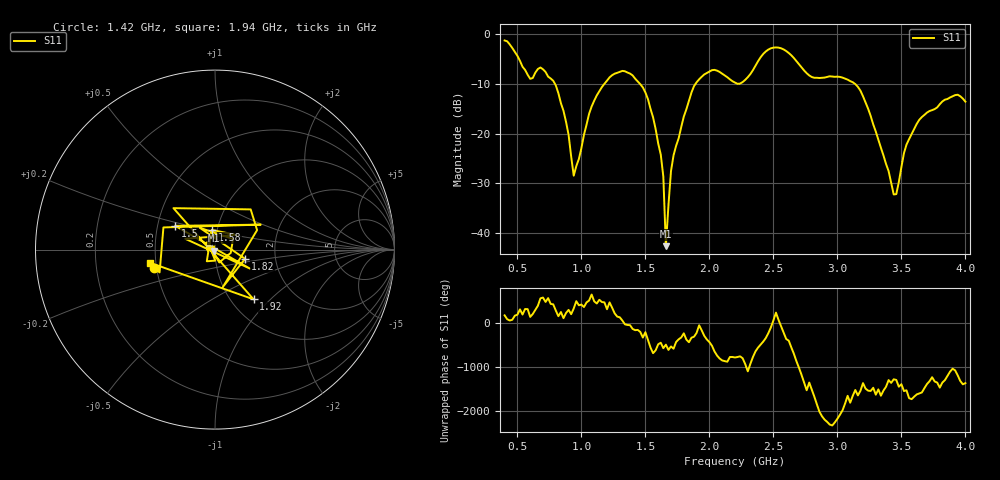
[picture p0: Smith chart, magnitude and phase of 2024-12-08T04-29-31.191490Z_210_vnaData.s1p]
!Created with skrf (http://scikit-rf.org).
# Hz S RI R 50.0
!freq ReS11 ImS11
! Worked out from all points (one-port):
!   181 points, 400 MHz to 4 GHz, reference 50 ohm
!   lowest |S11| = -42.6 dB at 1.66 GHz (marker M1), VSWR 1.01, Z = 49.5 - j0.538 ohm
!   |S11| at or under -10 dB: 792.9 MHz to 1.18 GHz (387.2 MHz wide, 39.2 % of centre); 1.457 GHz to 1.892 GHz (435.8 MHz wide, 26 % of centre); 3.136 GHz to end of sweep (the widest 3 of 4)
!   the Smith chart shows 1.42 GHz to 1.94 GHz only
!   S11 on the Smith chart (normalised r, x): 1.42 GHz: 0.48, -0.11; 1.5 GHz: 0.62, +0.18; 1.58 GHz: 0.94, +0.21; 1.82 GHz: 1.39, -0.15; 1.92 GHz: 1.26, -0.80; 1.94 GHz: 0.46, -0.08
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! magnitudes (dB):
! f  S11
! 400 MHz  -1.3
! 600 MHz  -9.0
! 680 MHz  -6.7
! 780 MHz  -9.4
! 860 MHz  -15.4
! 940 MHz  -28.4
! 1.08 GHz  -14.6
! 1.3 GHz  -7.6
! 1.42 GHz  -9.0
! 1.5 GHz  -11.8
! 1.58 GHz  -19.1
! 1.64 GHz  -28.6
! 1.66 GHz  -42.6
! 1.7 GHz  -27.5
! 1.76 GHz  -20.9
! 1.82 GHz  -15.1
! 1.92 GHz  -9.1
! 1.94 GHz  -8.6
! 2.2 GHz  -9.8
! 2.48 GHz  -2.9
! 2.66 GHz  -4.8
! 2.8 GHz  -8.7
! 3.1 GHz  -9.5
! 3.24 GHz  -15.0
! 3.44 GHz  -32.2
! 3.56 GHz  -21.1
! 3.84 GHz  -13.2
! 4 GHz  -13.6
